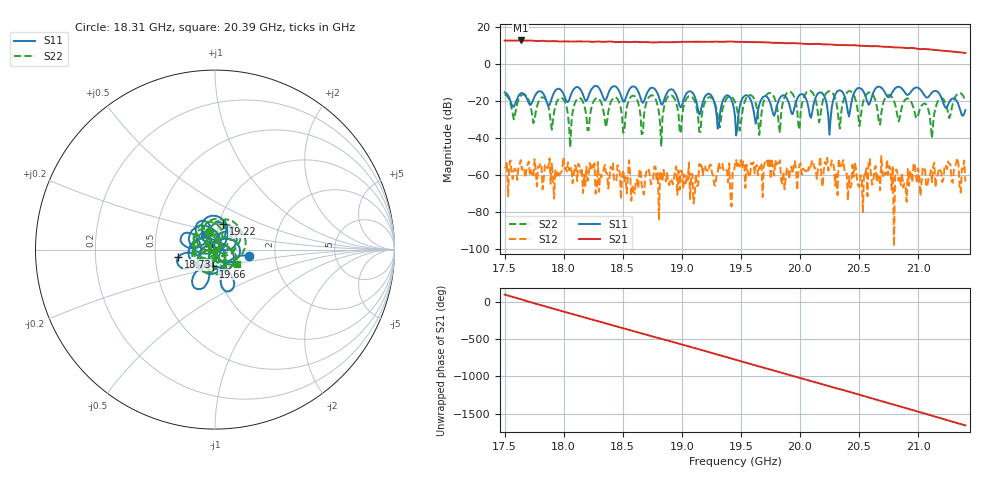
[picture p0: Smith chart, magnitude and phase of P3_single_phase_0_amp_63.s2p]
!Created with skrf (http://scikit-rf.org).
# GHz S RI R 50.0
!freq ReS11 ImS11 ReS21 ImS21 ReS12 ImS12 ReS22 ImS22
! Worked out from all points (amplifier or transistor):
!   401 points, 17.5 GHz to 21.4 GHz, reference 50 ohm
!   highest |S21| = 12.5 dB at 17.64 GHz (marker M1)
!   |S21| within 3 dB of that: start of sweep to 20.57 GHz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
!   unconditionally stable (mu >= 1): start of sweep to end of sweep
!   at 18.14 GHz: K = 109.97, MAG = 12.1 dB, |S12| = -59.2 dB
!   at 19.45 GHz: K = 65.40, MAG = 11.8 dB, |S12| = -54.2 dB
!   at 21.4 GHz: K = 392.88, MAG = 5.7 dB, |S12| = -63.7 dB
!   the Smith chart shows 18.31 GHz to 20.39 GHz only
!   S11 on the Smith chart (normalised r, x): 18.31 GHz: 1.47, -0.11; 18.73 GHz: 0.66, -0.06; 19.22 GHz: 1.05, +0.31; 19.66 GHz: 0.96, -0.18; 20.39 GHz: 0.87, +0.15
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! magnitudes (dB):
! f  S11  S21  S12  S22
! 17.5 GHz  -15.6  12.4  -55.8  -16.6
! 17.64 GHz  -16.1  12.5  -52.1  -17.4
! 17.9 GHz  -18.6  12.1  -53.6  -35.7
! 17.99 GHz  -15.1  11.9  -57.6  -18.7
! 18.06 GHz  -17.8  11.9  -57.3  -45.1
! 18.15 GHz  -15.2  11.9  -56.3  -19.6
! 18.31 GHz  -14.3  11.8  -59.8  -19.9
! 18.67 GHz  -21.2  11.6  -69.1  -37.5
! 18.73 GHz  -13.6  11.5  -60.0  -17.7
! 18.81 GHz  -18.2  11.5  -84.2  -26.4
! 19.22 GHz  -16.4  11.7  -57.5  -18.6
! 19.45 GHz  -28.5  11.8  -54.2  -20.7
! 19.66 GHz  -20.5  11.5  -56.3  -34.1
! 19.73 GHz  -19.0  11.4  -56.3  -16.0
! 19.83 GHz  -18.5  11.2  -52.2  -37.2
! 20.1 GHz  -26.4  10.5  -52.2  -15.5
! 20.34 GHz  -14.4  10.0  -54.7  -35.0
! 20.39 GHz  -19.3  10.0  -59.6  -16.8
! 20.68 GHz  -12.6  9.2  -68.3  -32.9
! 20.76 GHz  -18.1  9.0  -55.2  -16.9
! 21.12 GHz  -15.6  7.5  -64.0  -40.2
! 21.4 GHz  -25.1  5.7  -63.7  -20.0
